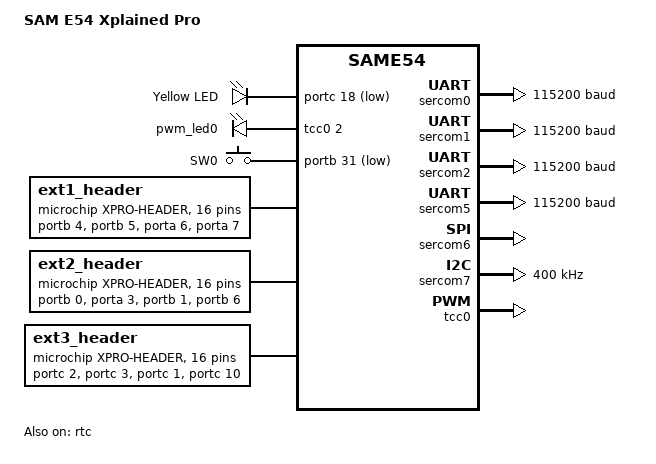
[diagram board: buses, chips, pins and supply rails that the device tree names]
/*
 * Copyright (c) 2025 Microchip Technology Inc.
 *
 * SPDX-License-Identifier: Apache-2.0
 */

/dts-v1/;
#include <microchip/sam/sam_d5x_e5x/atsame54/atsame54p20a.dtsi>
#include "sam_e54_xpro-pinctrl.dtsi"
#include <zephyr/dt-bindings/i2c/i2c.h>
#include <zephyr/dt-bindings/input/input-event-codes.h>
#include <zephyr/dt-bindings/adc/adc.h>
#include <zephyr/dt-bindings/adc/mchp_sam_d5x_e5x_adc.h>

/ {
	model = "SAM E54 Xplained Pro";
	compatible = "same54,xpro", "microchip,atsame54p20a", "microchip,same54";

	chosen {
		zephyr,console = &sercom2;
		zephyr,shell-uart = &sercom2;
		zephyr,sram = &sram0;
		zephyr,flash = &flash0;
		zephyr,code-partition = &slot0_partition;
		zephyr,flash-controller = &nvmctrl;
		zephyr,entropy = &trng;
	};

	aliases {
		led0 = &led0;
		pwm-led0 = &pwm_led0;
		sw0 = &button0;
		rtc = &rtc;
	};

	leds {
		compatible = "gpio-leds";

		led0: led_0 {
			gpios = <&portc 18 GPIO_ACTIVE_LOW>;
			label = "Yellow LED";
		};
	};

	pwmleds {
		compatible = "pwm-leds";

		pwm_led0: pwm_led_0 {
			status = "okay";
			pwms = <&tcc0 2 PWM_MSEC(20) 0>;
		};
	};

	buttons {
		compatible = "gpio-keys";

		button0: button_0 {
			gpios = <&portb 31 (GPIO_PULL_UP | GPIO_ACTIVE_LOW)>;
			label = "SW0";
			zephyr,code = <INPUT_KEY_0>;
		};
	};

	ext1_header: xplained-pro-connector1 {
		compatible = "microchip,xpro-header";
		#gpio-cells = <2>;
		gpio-map-mask = <0xffffffff 0xffffffc0>;
		gpio-map-pass-thru = <0 0x3f>;

		/* dts-format off */
					       /*                      Shared */
		gpio-map = <0  0 &portb  4 0>, /* ADC1/AIN[6]                 */
			   <1  0 &portb  5 0>, /* ADC1/AIN[7]                 */
			   <2  0 &porta  6 0>, /* GPIO (RTS)                  */
			   <3  0 &porta  7 0>, /* GPIO (CTS)                  */
			   <4  0 &portb  8 0>, /* TC4/WO[0]                   */
			   <5  0 &portb  9 0>, /* TC4/WO[1]                   */
			   <6  0 &portb  7 0>, /* IRQ7/GPIO                   */
			   <7  0 &porta 27 0>, /* GPIO                        */
			   <8  0 &porta 22 0>, /* SERCOM3 PAD[0] I2C SDA      */
			   <9  0 &porta 23 0>, /* SERCOM3 PAD[1] I2C SCL      */
			   <10 0 &porta  5 0>, /* SERCOM0 PAD[1] UART RX      */
			   <11 0 &porta  4 0>, /* SERCOM0 PAD[0] UART TX      */
			   <12 0 &portb 28 0>, /* SERCOM4 PAD[2] SPI SS       */
			   <13 0 &portb 27 0>, /* SERCOM4 PAD[0] SPI MOSI     */
			   <14 0 &portb 29 0>, /* SERCOM4 PAD[3] SPI MISO     */
			   <15 0 &portb 26 0>; /* SERCOM4 PAD[1] SPI SCK      */
					       /* GND                         */
					       /* +3.3V                       */
		/* dts-format on */
	};

	ext2_header: xplained-pro-connector2 {
		compatible = "microchip,xpro-header";
		#gpio-cells = <2>;
		gpio-map-mask = <0xffffffff 0xffffffc0>;
		gpio-map-pass-thru = <0 0x3f>;

		/* dts-format off */
					       /*                       Shared */
		gpio-map = <0  0 &portb  0 0>, /* ADC0/AIN[12]                 */
			   <1  0 &porta  3 0>, /* ADC0/AIN[1]                  */
			   <2  0 &portb  1 0>, /* GPIO                         */
			   <3  0 &portb  6 0>, /* GPIO                         */
			   <4  0 &portb 14 0>, /* TCC4/WO[4]                   */
			   <5  0 &portb 15 0>, /* TCC4/WO[5]                   */
			   <6  0 &portd  0 0>, /* IRQ0/GPIO                    */
			   <7  0 &portb  2 0>, /* GPIO                         */
			   <8  0 &portd  8 0>, /* SERCOM7 PAD[0] I2C SDA       */
			   <9  0 &portd  9 0>, /* SERCOM7 PAD[1] I2C SCL       */
			   <10 0 &portb 17 0>, /* SERCOM5 PAD[1] UART RX       */
			   <11 0 &portb 16 0>, /* SERCOM5 PAD[0] UART TX       */
			   <12 0 &portc  6 0>, /* SERCOM6 PAD[2] SPI SS        */
			   <13 0 &portc  4 0>, /* SERCOM6 PAD[0] SPI MOSI      */
			   <14 0 &portc  7 0>, /* SERCOM6 PAD[3] SPI MISO      */
			   <15 0 &portc  5 0>; /* SERCOM6 PAD[1] SPI SCK       */
					       /* GND                          */
					       /* +3.3V                        */
		/* dts-format on */
	};

	ext3_header: xplained-pro-connector3 {
		compatible = "microchip,xpro-header";
		#gpio-cells = <2>;
		gpio-map-mask = <0xffffffff 0xffffffc0>;
		gpio-map-pass-thru = <0 0x3f>;

		/* dts-format off */
					       /*                      Shared */
		gpio-map = <0  0 &portc  2 0>, /* ADC1/AIN[4]                 */
			   <1  0 &portc  3 0>, /* ADC1/AIN[5]                 */
			   <2  0 &portc  1 0>, /* GPIO                        */
			   <3  0 &portc 10 0>, /* GPIO                        */
			   <4  0 &portd 10 0>, /* TCC0/WO[3]                  */
			   <5  0 &portd 11 0>, /* TCC0/WO[4]                  */
			   <6  0 &portc 30 0>, /* IRQ14/GPIO                  */
			   <7  0 &portc 31 0>, /* GPIO                        */
			   <8  0 &portd  8 0>, /* SERCOM7 PAD[0] I2C SDA      */
			   <9  0 &portd  9 0>, /* SERCOM7 PAD[1] I2C SCL      */
			   <10 0 &portc 23 0>, /* SERCOM1 PAD[1] UART RX      */
			   <11 0 &portc 22 0>, /* SERCOM1 PAD[0] UART TX      */
			   <12 0 &portc 14 0>, /* GPIO                        */
			   <13 0 &portc  4 0>, /* SERCOM6 PAD[0] SPI MOSI     */
			   <14 0 &portc  7 0>, /* SERCOM6 PAD[3] SPI MISO     */
			   <15 0 &portc  5 0>; /* SERCOM6 PAD[1] SPI SCK      */
					       /* GND                         */
					       /* +3.3V                       */
		/* dts-format on */
	};
};

&rtc {
	prescaler = <1024>;
	status = "okay";
};

&flash0 {
	partitions {
		compatible = "fixed-partitions";
		#address-cells = <1>;
		#size-cells = <1>;

		boot_partition: partition@0 {
			reg = <0x00000000 0x00010000>;  /* 64 KB bootloader */
			read-only;
		};

		slot0_partition: partition@10000 {
			reg = <0x00010000 0x00070000>;  /* 448 KB primary app slot */
		};

		slot1_partition: partition@80000 {
			reg = <0x00080000 0x00070000>;  /* 448 KB secondary app slot */
		};

		storage_partition: partition@f0000 {
			reg = <0x000f0000 0x00010000>;  /* 64 KB storage area */
		};
	};
};

&cpu0 {
	clock-frequency = <120000000>;
};

&clock {
	compatible = "microchip,sam-d5x-e5x-clock";

	xosc: xosc {
		compatible = "microchip,sam-d5x-e5x-xosc";

		xosc1 {
			subsystem = <CLOCK_MCHP_XOSC_ID_XOSC1>;
			xosc-frequency = <12000000>;
			xosc-en = <1>;
			xosc-xtal-en = <1>;
			xosc-run-in-standby-en = <1>;
		};
	};

	dfll: dfll {
		compatible = "microchip,sam-d5x-e5x-dfll";
		dfll-en = <0>;
	};

	fdpll: fdpll {
		compatible = "microchip,sam-d5x-e5x-fdpll";

		fdpll0 {
			subsystem = <CLOCK_MCHP_FDPLL_ID_FDPLL0>;
			fdpll-divider-ratio-int = <19>;
			fdpll-lock-bypass-en = <1>;
			fdpll-wakeup-fast-en = <1>;
			fdpll-src = "xosc1";
			fdpll-en = <1>;
		};
	};

	xosc32k: xosc32k {
		compatible = "microchip,sam-d5x-e5x-xosc32k";
		xosc32k-xtal-en = <1>;
		xosc32k-startup-time = <62>;
		xosc32k-gain-mode = "standard";
		xosc32k-en = <1>;
		xosc32k-32khz-en = <1>;
		xosc32k-1khz-en = <1>;
	};

	gclkgen: gclkgen {
		compatible = "microchip,sam-d5x-e5x-gclkgen";

		gclkgen0 {
			subsystem = <CLOCK_MCHP_GCLKGEN_ID_GEN0>;
			gclkgen-div-factor = <1>;
			gclkgen-run-in-standby-en = <1>;
			gclkgen-src = "fdpll0";
			gclkgen-en = <1>;
		};

		gclkgen1 {
			subsystem = <CLOCK_MCHP_GCLKGEN_ID_GEN1>;
			gclkgen-div-factor = <2>;
			gclkgen-src = "fdpll0";
			gclkgen-run-in-standby-en = <1>;
			gclkgen-en = <1>;
		};
	};

	gclkperiph: gclkperiph {
		compatible = "microchip,sam-d5x-e5x-gclkperiph";
		#clock-cells = <1>;

		sercom2 {
			subsystem = <CLOCK_MCHP_GCLKPERIPH_ID_SERCOM2_CORE>;
			gclkperiph-src = "gclk0";
			gclkperiph-en = <1>;
		};

		adc0 {
			subsystem = <CLOCK_MCHP_GCLKPERIPH_ID_ADC0>;
			gclkperiph-src = "gclk1";
			gclkperiph-en = <0>;
		};

		adc1 {
			subsystem = <CLOCK_MCHP_GCLKPERIPH_ID_ADC1>;
			gclkperiph-src = "gclk1";
			gclkperiph-en = <0>;
		};

		dac {
			subsystem = <CLOCK_MCHP_GCLKPERIPH_ID_DAC>;
			gclkperiph-src = "gclk1";
			gclkperiph-en = <0>;
		};
	};

	mclkperiph: mclkperiph {
		compatible = "microchip,sam-d5x-e5x-mclkperiph";
		#clock-cells = <1>;

		sercom2 {
			subsystem = <CLOCK_MCHP_MCLKPERIPH_ID_APBB_SERCOM2>;
			mclk-en = <1>;
		};
	};
};

&sercom0 {
	compatible = "microchip,sercom-g1-uart";
	#address-cells = <1>;
	#size-cells = <0>;
	current-speed = <115200>;
	data-bits = <8>;
	parity = "none";
	stop-bits = "1";
	rxpo = <1>;
	txpo = <0>;
	pinctrl-0 = <&sercom0_uart_default>;
	pinctrl-names = "default";
	dmas = <&dmac 3 4>, <&dmac 4 5>;
	dma-names = "rx", "tx";
	status = "okay";
};

&sercom1 {
	compatible = "microchip,sercom-g1-uart";
	#address-cells = <1>;
	#size-cells = <0>;
	current-speed = <115200>;
	data-bits = <8>;
	parity = "none";
	stop-bits = "1";
	rxpo = <1>;
	txpo = <0>;
	pinctrl-0 = <&sercom1_uart_default>;
	pinctrl-names = "default";
	dmas = <&dmac 5 6>, <&dmac 6 7>;
	dma-names = "rx", "tx";
	status = "okay";
};

&sercom2 {
	compatible = "microchip,sercom-g1-uart";
	#address-cells = <1>;
	#size-cells = <0>;
	current-speed = <115200>;
	data-bits = <8>;
	parity = "none";
	stop-bits = "1";
	rxpo = <1>;
	txpo = <0>;
	pinctrl-0 = <&sercom2_uart_default>;
	pinctrl-names = "default";
	dmas = <&dmac 1 8>, <&dmac 2 9>;
	dma-names = "rx", "tx";
	status = "okay";
};

&sercom5 {
	compatible = "microchip,sercom-g1-uart";
	#address-cells = <1>;
	#size-cells = <0>;
	current-speed = <115200>;
	data-bits = <8>;
	parity = "none";
	stop-bits = "1";
	rxpo = <1>;
	txpo = <0>;
	pinctrl-0 = <&sercom5_uart_default>;
	pinctrl-names = "default";
	dmas = <&dmac 7 0xe>, <&dmac 8 0xf>;
	dma-names = "rx", "tx";
	status = "okay";
};

&sercom6 {
	compatible = "microchip,sercom-g1-spi";

	dipo = <3>;
	dopo = <0>;

	#address-cells = <1>;
	#size-cells = <0>;

	pinctrl-0 = <&sercom6_spi_default>;
	pinctrl-names = "default";
	status = "okay";
};

&sercom7 {
	compatible = "microchip,sercom-g1-i2c";
	#address-cells = <1>;
	#size-cells = <0>;
	clock-frequency = <I2C_BITRATE_FAST>;
	pinctrl-0 = <&sercom7_i2c_default>;
	pinctrl-names = "default";
	dmas = <&dmac 10 0x12>, <&dmac 11 0x13>;
	dma-names = "rx", "tx";
	status = "okay";
};

&tcc0 {
	compatible = "microchip,tcc-g1-pwm";
	status = "okay";
	#pwm-cells = <3>;
	pinctrl-0 = <&tcc0_pwm_default>;
	pinctrl-names = "default";
	max-bit-width = <24>;
	prescaler = <8>;
	channels = <6>;
};

&tc0 {
	compatible = "microchip,tc-g1-pwm";
	#pwm-cells = <3>;
	pinctrl-0 = <&tc0_pwm_default>;
	pinctrl-names = "default";
	max-bit-width = <32>;
	prescaler = <1>;
};

&portb {
	status = "okay";
};

&portc {
	status = "okay";
};

&adc0 {
	/* ADC clock = GCLK / prescaler (60 MHz / 4 = 15 MHz) */
	prescaler = <4>;
	pinctrl-0 = <&adc0_default>;
	pinctrl-names = "default";
};

&adc1 {
	/* ADC clock = GCLK / prescaler (60 MHz / 4 = 15 MHz) */
	prescaler = <4>;
	pinctrl-0 = <&adc1_default>;
	pinctrl-names = "default";
};

&dac {
	pinctrl-0 = <&dac_default>;
	pinctrl-names = "default";
};

ext1_serial: &sercom0 {};

ext2_serial: &sercom5 {};

ext3_serial: &sercom1 {};
